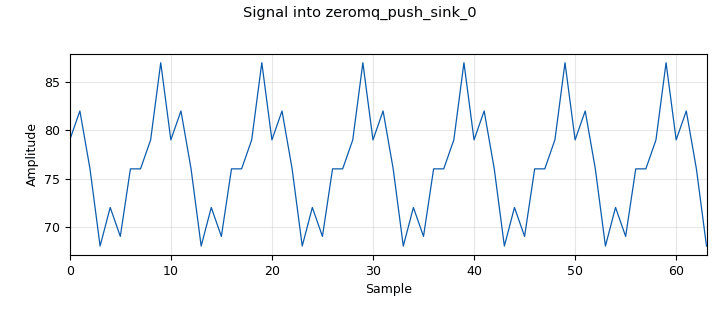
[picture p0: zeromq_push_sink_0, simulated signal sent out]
options:
  parameters:
    author: Neil Rogers
    generate_options: no_gui
    id: stream2vec_test
    output_language: python
    run_options: run
    title: Stream to Vector Test
  states: {}

blocks:
- name: addy
  id: variable
  parameters:
    value: '"tcp://127.0.0.1:5557"'
  states: {}
- name: codeword
  id: variable
  parameters:
    value: '"HELLOWORLD"'
  states: {}
- name: samp_rate
  id: variable
  parameters:
    value: '32000'
  states: {}
- name: blocks_head_0
  id: blocks_head
  parameters:
    num_items: '10'
    type: byte
    vlen: '10'
  states: {}
- name: blocks_stream_to_vector_0
  id: blocks_stream_to_vector
  parameters:
    num_items: len(codeword)
    type: byte
  states: {}
- name: blocks_throttle_0
  id: blocks_throttle
  parameters:
    samples_per_second: '32000'
    type: byte
  states: {}
- name: blocks_vector_source_x_0_0
  id: blocks_vector_source_x
  parameters:
    repeat: 'True'
    type: byte
    vector: '[ord(i) for i in codeword]'
  states: {}
- name: zeromq_push_sink_0
  id: zeromq_push_sink
  parameters:
    address: addy
    timeout: '100'
    type: byte
    vlen: len(codeword)
  states: {}

connections:
- [blocks_head_0, '0', zeromq_push_sink_0, '0']
- [blocks_stream_to_vector_0, '0', blocks_head_0, '0']
- [blocks_throttle_0, '0', blocks_stream_to_vector_0, '0']
- [blocks_vector_source_x_0_0, '0', blocks_throttle_0, '0']

metadata:
  file_format: 1
